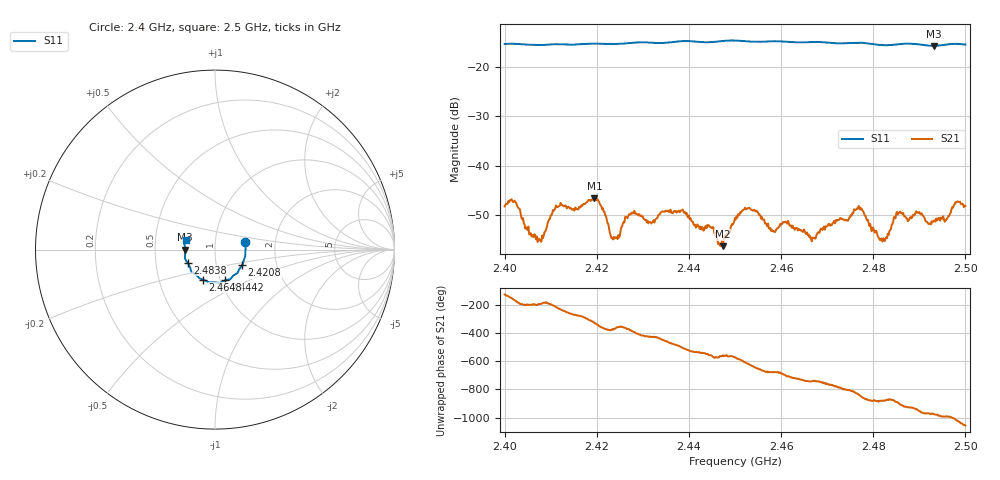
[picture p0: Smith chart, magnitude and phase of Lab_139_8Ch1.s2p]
# Hz S RI R 50
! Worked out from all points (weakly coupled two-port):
!   601 points, 2.4 GHz to 2.5 GHz, reference 50 ohm
!   highest |S21| = -46.64 dB at 2.4195 GHz (marker M1); lowest = -56.4 dB at 2.4473 GHz (marker M2)
!   lowest |S11| = -15.6 dB at 2.4932 GHz (marker M3), VSWR 1.40, Z = 35.8 - j0.0739 ohm
!   |S11| at or under -10 dB: start of sweep to end of sweep
!   S12 and S22 are empty: the file has one direction only
!   S11 on the Smith chart (normalised r, x): 2.4 GHz: 1.40, +0.12; 2.4208 GHz: 1.33, -0.24; 2.4442 GHz: 1.05, -0.37; 2.4648 GHz: 0.83, -0.29; 2.4838 GHz: 0.73, -0.11; 2.5 GHz: 0.72, +0.08
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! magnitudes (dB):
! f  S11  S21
! 2.4 GHz  -15.2  -48.3
! 2.402 GHz  -15.2  -47.3
! 2.4075 GHz  -15.4  -54.9
! 2.4117 GHz  -15.3  -48.3
! 2.4167 GHz  -15.2  -48.1
! 2.4195 GHz  -15.2  -46.6
! 2.4208 GHz  -15.2  -48.1
! 2.4237 GHz  -15.2  -54.5
! 2.4277 GHz  -15.0  -49.7
! 2.4333 GHz  -15.0  -50.1
! 2.4442 GHz  -14.9  -52.1
! 2.4473 GHz  -14.6  -56.4
! 2.45 GHz  -14.5  -50.7
! 2.453 GHz  -14.7  -48.6
! 2.4648 GHz  -14.9  -53.4
! 2.4667 GHz  -14.8  -55.5
! 2.4768 GHz  -15.0  -48.2
! 2.4833 GHz  -15.5  -54.2
! 2.4838 GHz  -15.4  -53.0
! 2.4855 GHz  -15.3  -49.7
! 2.4932 GHz  -15.6  -51.2
! 2.5 GHz  -15.4  -48.2
